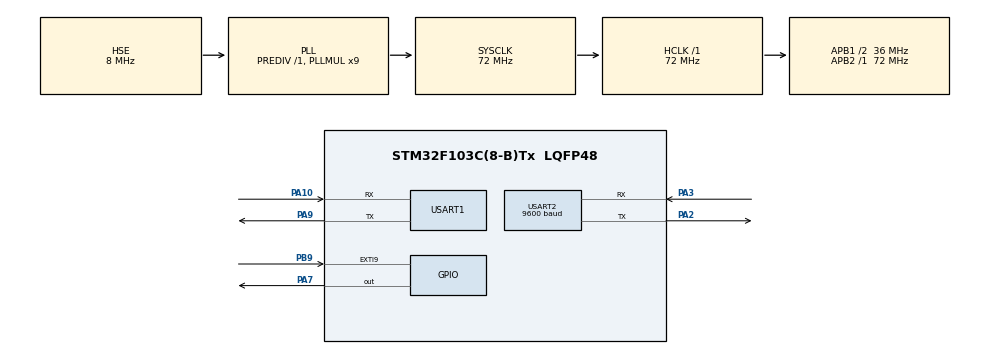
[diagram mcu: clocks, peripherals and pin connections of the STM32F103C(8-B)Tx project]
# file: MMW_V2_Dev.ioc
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Dma.Request0=USART2_RX
Dma.Request1=USART2_TX
Dma.Request2=USART1_RX
Dma.Request3=USART1_TX
Dma.USART1_RX.2.Direction=DMA_PERIPH_TO_MEMORY
Dma.USART1_RX.2.Instance=DMA1_Channel5
Dma.USART1_RX.2.MemDataAlignment=DMA_MDATAALIGN_BYTE
Dma.USART1_RX.2.MemInc=DMA_MINC_ENABLE
Dma.USART1_RX.2.Mode=DMA_CIRCULAR
Dma.USART1_RX.2.PeriphDataAlignment=DMA_PDATAALIGN_BYTE
Dma.USART1_RX.2.PeriphInc=DMA_PINC_DISABLE
Dma.USART1_RX.2.Priority=DMA_PRIORITY_LOW
Dma.USART1_TX.3.Direction=DMA_MEMORY_TO_PERIPH
Dma.USART1_TX.3.Instance=DMA1_Channel4
Dma.USART1_TX.3.MemDataAlignment=DMA_MDATAALIGN_BYTE
Dma.USART1_TX.3.MemInc=DMA_MINC_ENABLE
Dma.USART1_TX.3.Mode=DMA_CIRCULAR
Dma.USART1_TX.3.PeriphDataAlignment=DMA_PDATAALIGN_BYTE
Dma.USART1_TX.3.PeriphInc=DMA_PINC_DISABLE
Dma.USART1_TX.3.Priority=DMA_PRIORITY_LOW
Dma.USART2_RX.0.Direction=DMA_PERIPH_TO_MEMORY
Dma.USART2_RX.0.Instance=DMA1_Channel6
Dma.USART2_RX.0.MemDataAlignment=DMA_MDATAALIGN_BYTE
Dma.USART2_RX.0.MemInc=DMA_MINC_ENABLE
Dma.USART2_RX.0.Mode=DMA_CIRCULAR
Dma.USART2_RX.0.PeriphDataAlignment=DMA_PDATAALIGN_BYTE
Dma.USART2_RX.0.PeriphInc=DMA_PINC_DISABLE
Dma.USART2_RX.0.Priority=DMA_PRIORITY_LOW
Dma.USART2_TX.1.Direction=DMA_MEMORY_TO_PERIPH
Dma.USART2_TX.1.Instance=DMA1_Channel7
Dma.USART2_TX.1.MemDataAlignment=DMA_MDATAALIGN_BYTE
Dma.USART2_TX.1.MemInc=DMA_MINC_ENABLE
Dma.USART2_TX.1.Mode=DMA_CIRCULAR
Dma.USART2_TX.1.PeriphDataAlignment=DMA_PDATAALIGN_BYTE
Dma.USART2_TX.1.PeriphInc=DMA_PINC_DISABLE
Dma.USART2_TX.1.Priority=DMA_PRIORITY_LOW
Mcu.Family=STM32F1
Mcu.Name=STM32F103C(8-B)Tx
Mcu.Package=LQFP48
NVIC.DMA1_Channel4_IRQn=true\:0\:0\:false\:false\:true\:false\:true\:true
NVIC.DMA1_Channel5_IRQn=true\:0\:0\:false\:false\:true\:false\:true\:true
NVIC.DMA1_Channel6_IRQn=true\:0\:0\:false\:false\:true\:false\:true\:true
NVIC.DMA1_Channel7_IRQn=true\:0\:0\:false\:false\:true\:false\:true\:true
NVIC.EXTI9_5_IRQn=true\:0\:0\:false\:false\:true\:true\:true\:true
NVIC.PriorityGroup=NVIC_PRIORITYGROUP_4
NVIC.USART1_IRQn=true\:0\:0\:false\:false\:true\:true\:true\:true
NVIC.USART2_IRQn=true\:0\:0\:false\:false\:true\:true\:true\:true
PA10.Mode=Asynchronous
PA10.Signal=USART1_RX
PA13.Mode=Serial_Wire
PA13.Signal=SYS_JTMS-SWDIO
PA14.Mode=Serial_Wire
PA14.Signal=SYS_JTCK-SWCLK
PA2.Mode=Asynchronous
PA2.Signal=USART2_TX
PA3.Mode=Asynchronous
PA3.Signal=USART2_RX
PA7.Signal=GPIO_Output
PA9.Mode=Asynchronous
PA9.Signal=USART1_TX
PB9.GPIO_ModeDefaultEXTI=GPIO_MODE_IT_RISING_FALLING
PB9.GPIO_PuPd=GPIO_PULLUP
PB9.Signal=GPXTI9
PD0-OSC_IN.Mode=HSE-External-Oscillator
PD0-OSC_IN.Signal=RCC_OSC_IN
PD1-OSC_OUT.Mode=HSE-External-Oscillator
PD1-OSC_OUT.Signal=RCC_OSC_OUT
ProjectManager.HeapSize=0x200
ProjectManager.StackSize=0x400
ProjectManager.TargetToolchain=STM32CubeIDE
RCC.AHBFreq_Value=72000000
RCC.APB1CLKDivider=RCC_HCLK_DIV2
RCC.APB1Freq_Value=36000000
RCC.APB1TimFreq_Value=72000000
RCC.APB2Freq_Value=72000000
RCC.APB2TimFreq_Value=72000000
RCC.HCLKFreq_Value=72000000
RCC.PLLMUL=RCC_PLL_MUL9
RCC.PLLSourceVirtual=RCC_PLLSOURCE_HSE
RCC.SYSCLKFreq_VALUE=72000000
RCC.SYSCLKSource=RCC_SYSCLKSOURCE_PLLCLK
RCC.USBFreq_Value=72000000
TIM1.Period=0xffff-1
TIM1.Prescaler=72-1
USART1.VirtualMode=VM_ASYNC
USART2.BaudRate=9600
USART2.VirtualMode=VM_ASYNC
USART2.WordLength=WORDLENGTH_9B
VP_TIM1_VS_ClockSourceINT.Mode=Internal
board=custom

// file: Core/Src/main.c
/* USER CODE BEGIN Header */
/**
  ******************************************************************************
  * @file           : main.c
  * @brief          : Main program body
  ******************************************************************************
  * @attention
  *
  * Copyright (c) 2022 STMicroelectronics.
  * All rights reserved.
  *
  * This software is licensed under terms that can be found in the LICENSE file
  * in the root directory of this software component.
  * If no LICENSE file comes with this software, it is provided AS-IS.
  *
  ******************************************************************************
  */
/* USER CODE END Header */
#include "main.h"
#include "string.h"
#include "stdio.h"

 TIM_HandleTypeDef htim1;

UART_HandleTypeDef huart1;
UART_HandleTypeDef huart2;
DMA_HandleTypeDef hdma_usart1_rx;
DMA_HandleTypeDef hdma_usart1_tx;
DMA_HandleTypeDef hdma_usart2_rx;
DMA_HandleTypeDef hdma_usart2_tx;

void SystemClock_Config(void);
static void MX_GPIO_Init(void);
static void MX_DMA_Init(void);
static void MX_USART1_UART_Init(void);
static void MX_USART2_UART_Init(void);
static void MX_TIM1_Init(void);

/* USER CODE BEGIN 0 */

/**************************** Uart Buffers ****************************/

uint8_t RX_DATA_FROM_STC[5];
uint8_t RX_BUFF_FROM_DTU[7];

uint8_t *SPLIT_RX_BUFF_FROM_DTU[3];

/**************************** Drop & Door Sensors, Motor Status ****************************/

#define DOOR_SENSOR_PORT GPIOB
#define DOOR_SENSOR_PIN GPIO_PIN_9

int DROP_STATUS = 0; //  0 = Drop Fail, 1 = Drop Success
int DOOR_STATUS;     //  0 = Door Open, 1 = Door Closed
int MOTOR_STATUS = 0;// 0 = Motor Error, 1 = Motor Normal

int toggle_send_once = 0;
int tx_doorOpen_to_DTU_disable = 0;

/**************************** TEMPERATURE Sensor Value ****************************/

uint8_t Temp_byte1;
uint8_t Temp_byte2;
uint16_t TEMP;

float TEMPERATURE = 0; //TEMPERATURE value in Celcius
uint8_t Presence = 0;

/**************************** String and Hex Constant ****************************/

uint8_t SENSOR_REQUEST_STRING[5][7] = {{"tmpchck"}, {"dorchck"}, {"stachck"}, {"adtchck"}, {"mdtchck"}};
uint8_t MOTOR_FIRST_STRING[2][3] = {{"sgl"}, {"tst"}};
uint8_t MOTOR_SECOND_STRING[6][1] = {{"A"}, {"B"}, {"C"}, {"D"}, {"E"}, {"F"}};
uint8_t MOTOR_THIRD_STRING[10][1] = {{"1"}, {"2"}, {"3"}, {"4"}, {"5"}, {"6"}, {"7"}, {"8"}, {"9"},
		{"A"}};

uint16_t STX = 0xFB; //start byte
uint16_t ENX = 0xFB; //end byte

uint16_t SINGLE_MOTOR_DISPENSING = 0x02;
uint16_t SINGLE_MOTOR_DISPENSING_MODE = 0x01;

uint16_t TEST_MOTOR_FUNCTION = 0x03;
uint16_t TEST_MOTOR_FUNCTION_MODE = 0x11;

uint16_t MOTOR_ROW[6] = {0x06, 0x05, 0x04, 0x03, 0x02, 0x01};
uint16_t MOTOR_COLUMN[10] = {0x0A, 0x09, 0x08, 0x07, 0x06, 0x05, 0x04, 0x03, 0x02, 0x01};

uint16_t DROP_TEST_MODE[2] = {0x04,  0x06};

/**************************** Single Motor Hex Return ****************************/

uint8_t DROP_SUCCESS[5] = {0xFB,  0x02,  0x05,  0x00,  0xFB};
uint8_t DROP_NOT_SUCCESS[5] = {0xFB,  0x02,  0x02,  0x00,  0xFB};
uint8_t MOTOR_ERROR[5] = {0xFB,  0x02,  0x00,  0x00,  0xFB};

/**************************** Test Motor Hex Return ****************************/

uint8_t TEST_MOTOR_NORMAL[5] = {0xFB,  0x03,  0x05,  0x00,  0xFB};
uint8_t TEST_MOTOR_ERROR[5] = {0xFB,  0x03,  0x00,  0x00,  0xFB};

/**************************** Automatic Drop Sensor Test (availability) Hex Return ****************************/

uint8_t AUTO_DROP_NORMAL[5] = {0xFB,  0x04,  0x01,  0x00,  0xFB};
uint8_t AUTO_DROP_ERROR[5] = {0xFB,  0x04,  0x00,  0x00,  0xFB};

/**************************** Manual Drop Sensor Test (functionality) Hex Return ****************************/

uint8_t MANUAL_DROP_NORMAL[5] = {0xFB,  0x06,  0x01,  0x00,  0xFB};
uint8_t MANUAL_DROP_ERROR[5] = {0xFB,  0x06,  0x00,  0x00,  0xFB};

/**************************** Milliseconds Delay Function ****************************/

void delay (uint32_t us)
{
    __HAL_TIM_SET_COUNTER(&htim1,0);
    while ((__HAL_TIM_GET_COUNTER(&htim1))<us);
}

/**************************** Set Pin as Input/Output for TEMPERATURE Sensor ****************************/

void Set_Pin_Output (GPIO_TypeDef *GPIOx, uint16_t GPIO_Pin)
{
  GPIO_InitTypeDef GPIO_InitStruct = {0};
  GPIO_InitStruct.Pin = GPIO_Pin;
  GPIO_InitStruct.Mode = GPIO_MODE_OUTPUT_PP;
  GPIO_InitStruct.Speed = GPIO_SPEED_FREQ_LOW;
  HAL_GPIO_Init(GPIOx, &GPIO_InitStruct);
}

void Set_Pin_Input (GPIO_TypeDef *GPIOx, uint16_t GPIO_Pin)
{
  GPIO_InitTypeDef GPIO_InitStruct = {0};
  GPIO_InitStruct.Pin = GPIO_Pin;
  GPIO_InitStruct.Mode = GPIO_MODE_INPUT;
  GPIO_InitStruct.Pull = GPIO_NOPULL;
  HAL_GPIO_Init(GPIOA, &GPIO_InitStruct);
}

/**************************** DS18B20/TEMPERATURE Sensor Functions ****************************/
#define DS18B20_PORT GPIOA
#define DS18B20_PIN GPIO_PIN_7

uint8_t DS18B20_Start (void)
{
	uint8_t Response = 0;
	Set_Pin_Output(DS18B20_PORT, DS18B20_PIN);   // set the pin as output
	HAL_GPIO_WritePin (DS18B20_PORT, DS18B20_PIN, 0);  // pull the pin low
	delay (480);   // delay according to datasheet

	Set_Pin_Input(DS18B20_PORT, DS18B20_PIN);    // set the pin as input
	delay (80);    // delay according to datasheet

	if (!(HAL_GPIO_ReadPin (DS18B20_PORT, DS18B20_PIN))) Response = 1;    // if the pin is low i.e the presence pulse is detected
	else Response = -1;

	delay (400); // 480 us delay totally.

	return Response;
}

void DS18B20_Write (uint8_t data)
{
	Set_Pin_Output(DS18B20_PORT, DS18B20_PIN);  // set as output

	for (int i=0; i<8; i++)
	{

		if ((data & (1<<i))!=0)  // if the bit is high
		{
			// write 1

			Set_Pin_Output(DS18B20_PORT, DS18B20_PIN);  // set as output
			HAL_GPIO_WritePin (DS18B20_PORT, DS18B20_PIN, 0);  // pull the pin LOW
			delay (1);  // wait for 1 us

			Set_Pin_Input(DS18B20_PORT, DS18B20_PIN);  // set as input
			delay (50);  // wait for 60 us
		}

		else  // if the bit is low
		{
			// write 0

			Set_Pin_Output(DS18B20_PORT, DS18B20_PIN);
			HAL_GPIO_WritePin (DS18B20_PORT, DS18B20_PIN, 0);  // pull the pin LOW
			delay (50);  // wait for 60 us

			Set_Pin_Input(DS18B20_PORT, DS18B20_PIN);
		}
	}
}

uint8_t DS18B20_Read (void)
{
	uint8_t value=0;
	Set_Pin_Input(DS18B20_PORT, DS18B20_PIN);

	for (int i=0;i<8;i++)
	{
		Set_Pin_Output(DS18B20_PORT, DS18B20_PIN);   // set as output

		HAL_GPIO_WritePin (DS18B20_PORT, DS18B20_PIN, 0);  // pull the data pin LOW
		delay (2);  // wait for 2 us

		Set_Pin_Input(DS18B20_PORT, DS18B20_PIN);  // set as input
		if (HAL_GPIO_ReadPin (DS18B20_PORT, DS18B20_PIN))  // if the pin is HIGH
		{
			value |= 1<<i;  // read = 1
		}
		delay (60);  // wait for 60 us
	}
	return value;
}

/**************************** UART CALLBACK FUNCTIONS ****************************/

int tx_to_DTU_enable = 0;
char TX_BUFF_TO_DTU[40]; //String from STM32 to DTU is sent using this buffer
uint16_t TX_COMMAND_TO_STC[6]; //Hex Command from STM32 to STC is sent using this buffer

void HAL_UART_TxCpltCallback(UART_HandleTypeDef *huart)
{

}

void HAL_UART_RxCpltCallback(UART_HandleTypeDef *huart){
	if(huart->Instance==USART1)
	 {
  /**************************** UART Split ****************************/
		if(strncmp(RX_BUFF_FROM_DTU, SENSOR_REQUEST_STRING[0], 7) == 0 ||
					strncmp(RX_BUFF_FROM_DTU, SENSOR_REQUEST_STRING[1], 7) == 0 ||
					strncmp(RX_BUFF_FROM_DTU, SENSOR_REQUEST_STRING[2], 7) == 0){

			  tx_to_DTU_enable = 1;
			  tx_doorOpen_to_DTU_disable = 1;
		}
		else{
			  split_Command_from_DTU();
			  concat_Command_for_STC();
			/**************************** UART Transmit & Receive ****************************/
			  send_Command_to_STC();
			  tx_doorOpen_to_DTU_disable = 1;
		}
	 }

	if(huart->Instance==USART2)
	 {
		tx_to_DTU_enable = 1;
	 }

	HAL_UART_Receive_DMA(&huart2, RX_DATA_FROM_STC, 5); //restart the reception mode
	HAL_UART_Receive_IT(&huart1,RX_BUFF_FROM_DTU, 7);
}

/**************************** LOOPING FUNCTIONS ****************************/
/*-------WRITE & READ TEMPERATURE FUNCTION-------*/

void write_read_Temperature(){

	  Presence = DS18B20_Start();
	  HAL_Delay (1);
	  DS18B20_Write (0xCC);  // skip ROM
	  DS18B20_Write (0x44);  // convert t
	  HAL_Delay (800);

	  Presence = DS18B20_Start();
	  HAL_Delay(1);
	  DS18B20_Write (0xCC);  // skip ROM
	  DS18B20_Write (0xBE);  // Read Scratch-pad

	  Temp_byte1 = DS18B20_Read();
	  Temp_byte2 = DS18B20_Read();

	  TEMP = (Temp_byte2<<8)|Temp_byte1;
	  TEMPERATURE = (float)TEMP/16;
}

/*-------TRANSMITTING DATA TO DTU FUNCTION-------*/

void transmit_Data_to_DTU(){

	for(int i = 0; i < sizeof(TX_BUFF_TO_DTU); i++){
		TX_BUFF_TO_DTU[i] = '\0';
	}
	if (strcmp(RX_DATA_FROM_STC, DROP_SUCCESS) == 0){

		sprintf(TX_BUFF_TO_DTU, "sglsuccess_%.2f_%d_1_1_", TEMPERATURE, DOOR_STATUS);
		for(int i = 0; i < sizeof(RX_DATA_FROM_STC); i++){
			RX_DATA_FROM_STC[i] = '\0';
		}
	}
	else if (strcmp(RX_DATA_FROM_STC, DROP_NOT_SUCCESS) == 0){

		sprintf(TX_BUFF_TO_DTU, "sglfail_%.2f_%d_0_1_", TEMPERATURE, DOOR_STATUS);
		for(int i = 0; i < sizeof(RX_DATA_FROM_STC); i++){
			RX_DATA_FROM_STC[i] = '\0';
		}
	}
	else if (strcmp(RX_DATA_FROM_STC, MOTOR_ERROR) == 0){

		sprintf(TX_BUFF_TO_DTU, "sglmotorerror_%.2f_%d_0_0_", TEMPERATURE, DOOR_STATUS);
		for(int i = 0; i < sizeof(RX_DATA_FROM_STC); i++){
			RX_DATA_FROM_STC[i] = '\0';
		}
	}
	else if (strcmp(RX_DATA_FROM_STC, TEST_MOTOR_NORMAL) == 0){

		sprintf(TX_BUFF_TO_DTU, "tstsuccess_%.2f_%d_0_1_", TEMPERATURE, DOOR_STATUS);
		for(int i = 0; i < sizeof(RX_DATA_FROM_STC); i++){
			RX_DATA_FROM_STC[i] = '\0';
		}
	}
	else if (strcmp(RX_DATA_FROM_STC, TEST_MOTOR_ERROR) == 0){

		sprintf(TX_BUFF_TO_DTU, "tstmotorerror_%.2f_%d_0_0_", TEMPERATURE, DOOR_STATUS);
		for(int i = 0; i < sizeof(RX_DATA_FROM_STC); i++){
			RX_DATA_FROM_STC[i] = '\0';
		}
	}
	/*------ONLY FOR TECHNICIAN------*/
	else if (strcmp(RX_DATA_FROM_STC, AUTO_DROP_NORMAL) == 0){

		sprintf(TX_BUFF_TO_DTU, "DROP SENSOR IS AVAILABLE");
		for(int i = 0; i < sizeof(RX_DATA_FROM_STC); i++){
			RX_DATA_FROM_STC[i] = '\0';
		}
	}
	else if (strcmp(RX_DATA_FROM_STC, AUTO_DROP_ERROR) == 0){

		sprintf(TX_BUFF_TO_DTU, "DROP SENSOR ERROR (CHECK CONNECTION)");
		for(int i = 0; i < sizeof(RX_DATA_FROM_STC); i++){
			RX_DATA_FROM_STC[i] = '\0';
		}
	}
	else if (strcmp(RX_DATA_FROM_STC, MANUAL_DROP_NORMAL) == 0){

		sprintf(TX_BUFF_TO_DTU, "MANUAL DROP DETECTION SUCCESSUL");
		for(int i = 0; i < sizeof(RX_DATA_FROM_STC); i++){
			RX_DATA_FROM_STC[i] = '\0';
		}
	}
	else if (strcmp(RX_DATA_FROM_STC, MANUAL_DROP_ERROR) == 0){

		sprintf(TX_BUFF_TO_DTU, "MANUAL DROP DETECTION UNSUCCESSUL");
		for(int i = 0; i < sizeof(RX_DATA_FROM_STC); i++){
			RX_DATA_FROM_STC[i] = '\0';
		}
	}
	else if (strncmp(RX_BUFF_FROM_DTU, SENSOR_REQUEST_STRING[0], 7) == 0){

		sprintf(TX_BUFF_TO_DTU, "tmpchck_%.2f_0_0_0_", TEMPERATURE);
	}
	else if (strncmp(RX_BUFF_FROM_DTU, SENSOR_REQUEST_STRING[1], 7) == 0){

		sprintf(TX_BUFF_TO_DTU, "dorchck_0_%d_0_0_", DOOR_STATUS);
	}
	else if (strncmp(RX_BUFF_FROM_DTU, SENSOR_REQUEST_STRING[2], 7) == 0){

		sprintf(TX_BUFF_TO_DTU, "stachck_%.2f_%d_0_0_", TEMPERATURE, DOOR_STATUS);
	}
	else if(DOOR_STATUS == 0 && tx_doorOpen_to_DTU_disable == 0){

		sprintf(TX_BUFF_TO_DTU, "DOOR OPEN");
	}
	else{

	}

	HAL_UART_Transmit_IT(&huart1, TX_BUFF_TO_DTU, sizeof(TX_BUFF_TO_DTU));
	tx_doorOpen_to_DTU_disable = 0;
}

/**************************** FUNCTIONS THAT RUN IN UART CALLBACK FUNCTIONS ****************************/

void split_Command_from_DTU(){

	char *token;
	int j = 0;
	token = strtok(RX_BUFF_FROM_DTU, "_");

	while( token != NULL ) {
		printf( " %s\n", token );
		SPLIT_RX_BUFF_FROM_DTU[j++] = token;
		token = strtok(NULL, "_");
	}

}

void concat_Command_for_STC(){

	/************* Set First & End Hex Byte *************/
	TX_COMMAND_TO_STC[0] = STX;
	TX_COMMAND_TO_STC[5] = ENX;

	/************* Set Second & Fifth Hex Byte *************/

	if(strncmp(SPLIT_RX_BUFF_FROM_DTU[0], MOTOR_FIRST_STRING[0], 3) == 0){
		TX_COMMAND_TO_STC[1] = SINGLE_MOTOR_DISPENSING;// ------------------------>single motor dispensing = 0x02
		TX_COMMAND_TO_STC[4] = SINGLE_MOTOR_DISPENSING_MODE;// ------------------->spiral cargo mode with drop sensor = 0x01
	}
	else if (strncmp(SPLIT_RX_BUFF_FROM_DTU[0], MOTOR_FIRST_STRING[1], 3) == 0){
	    TX_COMMAND_TO_STC[1] = TEST_MOTOR_FUNCTION;// ---------------------------->test motor function = 0x03
	    TX_COMMAND_TO_STC[4] = TEST_MOTOR_FUNCTION_MODE;// ----------------------->test if spiral cargo motor not connected = 0x11
	}
	else{

	}

	/************* Set Third Hex Byte (Motor MOTOR_ROW)*************/
	if(strncmp(SPLIT_RX_BUFF_FROM_DTU[1], MOTOR_SECOND_STRING[0], 1) == 0){
		TX_COMMAND_TO_STC[2] = MOTOR_ROW[0];// ------------------------------------------>A = 0x06
	}
	else if (strncmp(SPLIT_RX_BUFF_FROM_DTU[1], MOTOR_SECOND_STRING[1], 1) == 0){
		TX_COMMAND_TO_STC[2] = MOTOR_ROW[1];// ------------------------------------------>B = 0x05
	}
	else if (strncmp(SPLIT_RX_BUFF_FROM_DTU[1], MOTOR_SECOND_STRING[2], 1) == 0){
		TX_COMMAND_TO_STC[2] = MOTOR_ROW[2];// ------------------------------------------>C = 0x04
	}
	else if (strncmp(SPLIT_RX_BUFF_FROM_DTU[1], MOTOR_SECOND_STRING[3], 1) == 0){
		TX_COMMAND_TO_STC[2] = MOTOR_ROW[3];// ------------------------------------------>D = 0x03
	}
	else if (strncmp(SPLIT_RX_BUFF_FROM_DTU[1], MOTOR_SECOND_STRING[4], 1) == 0){
		TX_COMMAND_TO_STC[2] = MOTOR_ROW[4];// ------------------------------------------>E = 0x02
	}
	else if (strncmp(SPLIT_RX_BUFF_FROM_DTU[1], MOTOR_SECOND_STRING[5], 1) == 0){
		TX_COMMAND_TO_STC[2] = MOTOR_ROW[5];// ------------------------------------------>F = 0x01
	}
	else{

	}

	/************* Set Fourth Hex Byte (Motor MOTOR_COLUMN)*************/

	if(strncmp(SPLIT_RX_BUFF_FROM_DTU[2], MOTOR_THIRD_STRING[0], 1) == 0){
		TX_COMMAND_TO_STC[3] = MOTOR_COLUMN[0];// ------------------------------------------>1 = 0x0A
	}
	else if (strncmp(SPLIT_RX_BUFF_FROM_DTU[2], MOTOR_THIRD_STRING[1], 1) == 0){
		TX_COMMAND_TO_STC[3] = MOTOR_COLUMN[1];// ------------------------------------------>2 = 0x09
	}
	else if (strncmp(SPLIT_RX_BUFF_FROM_DTU[2], MOTOR_THIRD_STRING[2], 1) == 0){
		TX_COMMAND_TO_STC[3] = MOTOR_COLUMN[2];// ------------------------------------------>3 = 0x08
	}
	else if (strncmp(SPLIT_RX_BUFF_FROM_DTU[2], MOTOR_THIRD_STRING[3], 1) == 0){
		TX_COMMAND_TO_STC[3] = MOTOR_COLUMN[3];// ------------------------------------------>4 = 0x07
	}
	else if (strncmp(SPLIT_RX_BUFF_FROM_DTU[2], MOTOR_THIRD_STRING[4], 1) == 0){
		TX_COMMAND_TO_STC[3] = MOTOR_COLUMN[4];// ------------------------------------------>5 = 0x06
	}
	else if (strncmp(SPLIT_RX_BUFF_FROM_DTU[2], MOTOR_THIRD_STRING[5], 1) == 0){
		TX_COMMAND_TO_STC[3] = MOTOR_COLUMN[5];// ------------------------------------------>6 = 0x05
	}
	else if (strncmp(SPLIT_RX_BUFF_FROM_DTU[2], MOTOR_THIRD_STRING[6], 1) == 0){
		TX_COMMAND_TO_STC[3] = MOTOR_COLUMN[6];// ------------------------------------------>7 = 0x04
	}
	else if (strncmp(SPLIT_RX_BUFF_FROM_DTU[2], MOTOR_THIRD_STRING[7], 1) == 0){
		TX_COMMAND_TO_STC[3] = MOTOR_COLUMN[7];// ------------------------------------------>8 = 0x03
	}
	else if (strncmp(SPLIT_RX_BUFF_FROM_DTU[2], MOTOR_THIRD_STRING[8], 1) == 0){
		TX_COMMAND_TO_STC[3] = MOTOR_COLUMN[8];// ------------------------------------------>9 = 0x02
	}
	else if (strncmp(SPLIT_RX_BUFF_FROM_DTU[2], MOTOR_THIRD_STRING[9], 1) == 0){
		TX_COMMAND_TO_STC[3] = MOTOR_COLUMN[9];// ------------------------------------------>A = 0x01
	}
	else{

	}

	/************* Set Second, Third, Fourth & Fifth Hex Byte *************/

	if(strncmp(RX_BUFF_FROM_DTU, SENSOR_REQUEST_STRING[3], 7) == 0){
		TX_COMMAND_TO_STC[1] = DROP_TEST_MODE[0];// ------------------------>Automatic Drop Sensor Test Mode = 0x04
		TX_COMMAND_TO_STC[2] = 0x00;
		TX_COMMAND_TO_STC[3] = 0x00;
		TX_COMMAND_TO_STC[4] = 0x00;
	}
	else if (strncmp(RX_BUFF_FROM_DTU, SENSOR_REQUEST_STRING[4], 7) == 0){
		TX_COMMAND_TO_STC[1] = DROP_TEST_MODE[1];// ------------------------>Manual Drop Sensor Test Mode = 0x06
		TX_COMMAND_TO_STC[2] = 0x00;
		TX_COMMAND_TO_STC[3] = 0x00;
		TX_COMMAND_TO_STC[4] = 0x00;
	}
	else{

	}

}

void send_Command_to_STC(void){

	HAL_UART_Transmit_IT(&huart2, TX_COMMAND_TO_STC, 6);
}

/* USER CODE END 0 */

int main(void)
{

  /* MCU Configuration--------------------------------------------------------*/

  /* Reset of all peripherals, Initializes the Flash interface and the Systick. */
  HAL_Init();

  /* Configure the system clock */
  SystemClock_Config();

  /* Initialize all configured peripherals */
  MX_GPIO_Init();
  MX_DMA_Init();
  MX_USART1_UART_Init();
  MX_USART2_UART_Init();
  MX_TIM1_Init();
  /* USER CODE BEGIN 2 */
  HAL_TIM_Base_Start(&htim1);
  HAL_UART_Receive_DMA(&huart2, RX_DATA_FROM_STC, 5);
  HAL_UART_Receive_IT(&huart1,RX_BUFF_FROM_DTU, 7);
  /* USER CODE END 2 */

  /* Infinite loop */
  while (1)
  {
	  if(tx_to_DTU_enable == 1){
		  transmit_Data_to_DTU();
		  tx_to_DTU_enable = 0;
	  }
	  if(DOOR_STATUS == 0 && toggle_send_once == 1){
		  transmit_Data_to_DTU();
		  toggle_send_once = 0;
	  }
	  write_read_Temperature();
  }
}

// External Interrupt ISR Handler CallBackFun
void HAL_GPIO_EXTI_Callback(uint16_t GPIO_Pin)
{
    if(GPIO_Pin == DOOR_SENSOR_PIN) // INT Source is pin A9
    {
    	if(HAL_GPIO_ReadPin(DOOR_SENSOR_PORT, DOOR_SENSOR_PIN) != GPIO_PIN_RESET){
    		DOOR_STATUS = 0;
    		toggle_send_once = 1;
		}
		else{
			DOOR_STATUS = 1;
		}
    }
}

void SystemClock_Config(void)
{
  RCC_OscInitTypeDef RCC_OscInitStruct = {0};
  RCC_ClkInitTypeDef RCC_ClkInitStruct = {0};

  /** Initializes the RCC Oscillators according to the specified parameters
  * in the RCC_OscInitTypeDef structure.
  */
  RCC_OscInitStruct.OscillatorType = RCC_OSCILLATORTYPE_HSE;
  RCC_OscInitStruct.HSEState = RCC_HSE_ON;
  RCC_OscInitStruct.HSEPredivValue = RCC_HSE_PREDIV_DIV1;
  RCC_OscInitStruct.HSIState = RCC_HSI_ON;
  RCC_OscInitStruct.PLL.PLLState = RCC_PLL_ON;
  RCC_OscInitStruct.PLL.PLLSource = RCC_PLLSOURCE_HSE;
  RCC_OscInitStruct.PLL.PLLMUL = RCC_PLL_MUL9;
  if (HAL_RCC_OscConfig(&RCC_OscInitStruct) != HAL_OK)
  {
    Error_Handler();
  }

  /** Initializes the CPU, AHB and APB buses clocks
  */
  RCC_ClkInitStruct.ClockType = RCC_CLOCKTYPE_HCLK|RCC_CLOCKTYPE_SYSCLK
                              |RCC_CLOCKTYPE_PCLK1|RCC_CLOCKTYPE_PCLK2;
  RCC_ClkInitStruct.SYSCLKSource = RCC_SYSCLKSOURCE_PLLCLK;
  RCC_ClkInitStruct.AHBCLKDivider = RCC_SYSCLK_DIV1;
  RCC_ClkInitStruct.APB1CLKDivider = RCC_HCLK_DIV2;
  RCC_ClkInitStruct.APB2CLKDivider = RCC_HCLK_DIV1;

  if (HAL_RCC_ClockConfig(&RCC_ClkInitStruct, FLASH_LATENCY_2) != HAL_OK)
  {
    Error_Handler();
  }
}

static void MX_TIM1_Init(void)
{

  TIM_ClockConfigTypeDef sClockSourceConfig = {0};
  TIM_MasterConfigTypeDef sMasterConfig = {0};

  htim1.Instance = TIM1;
  htim1.Init.Prescaler = 72-1;
  htim1.Init.CounterMode = TIM_COUNTERMODE_UP;
  htim1.Init.Period = 0xffff-1;
  htim1.Init.ClockDivision = TIM_CLOCKDIVISION_DIV1;
  htim1.Init.RepetitionCounter = 0;
  htim1.Init.AutoReloadPreload = TIM_AUTORELOAD_PRELOAD_DISABLE;
  if (HAL_TIM_Base_Init(&htim1) != HAL_OK)
  {
    Error_Handler();
  }
  sClockSourceConfig.ClockSource = TIM_CLOCKSOURCE_INTERNAL;
  if (HAL_TIM_ConfigClockSource(&htim1, &sClockSourceConfig) != HAL_OK)
  {
    Error_Handler();
  }
  sMasterConfig.MasterOutputTrigger = TIM_TRGO_RESET;
  sMasterConfig.MasterSlaveMode = TIM_MASTERSLAVEMODE_DISABLE;
  if (HAL_TIMEx_MasterConfigSynchronization(&htim1, &sMasterConfig) != HAL_OK)
  {
    Error_Handler();
  }

}

static void MX_USART1_UART_Init(void)
{

  huart1.Instance = USART1;
  huart1.Init.BaudRate = 115200;
  huart1.Init.WordLength = UART_WORDLENGTH_8B;
  huart1.Init.StopBits = UART_STOPBITS_1;
  huart1.Init.Parity = UART_PARITY_NONE;
  huart1.Init.Mode = UART_MODE_TX_RX;
  huart1.Init.HwFlowCtl = UART_HWCONTROL_NONE;
  huart1.Init.OverSampling = UART_OVERSAMPLING_16;
  if (HAL_UART_Init(&huart1) != HAL_OK)
  {
    Error_Handler();
  }

}

static void MX_USART2_UART_Init(void)
{

  huart2.Instance = USART2;
  huart2.Init.BaudRate = 9600;
  huart2.Init.WordLength = UART_WORDLENGTH_9B;
  huart2.Init.StopBits = UART_STOPBITS_1;
  huart2.Init.Parity = UART_PARITY_NONE;
  huart2.Init.Mode = UART_MODE_TX_RX;
  huart2.Init.HwFlowCtl = UART_HWCONTROL_NONE;
  huart2.Init.OverSampling = UART_OVERSAMPLING_16;
  if (HAL_UART_Init(&huart2) != HAL_OK)
  {
    Error_Handler();
  }

}

static void MX_DMA_Init(void)
{

  /* DMA controller clock enable */
  __HAL_RCC_DMA1_CLK_ENABLE();

  /* DMA interrupt init */
  /* DMA1_Channel4_IRQn interrupt configuration */
  HAL_NVIC_SetPriority(DMA1_Channel4_IRQn, 0, 0);
  HAL_NVIC_EnableIRQ(DMA1_Channel4_IRQn);
  /* DMA1_Channel5_IRQn interrupt configuration */
  HAL_NVIC_SetPriority(DMA1_Channel5_IRQn, 0, 0);
  HAL_NVIC_EnableIRQ(DMA1_Channel5_IRQn);
  /* DMA1_Channel6_IRQn interrupt configuration */
  HAL_NVIC_SetPriority(DMA1_Channel6_IRQn, 0, 0);
  HAL_NVIC_EnableIRQ(DMA1_Channel6_IRQn);
  /* DMA1_Channel7_IRQn interrupt configuration */
  HAL_NVIC_SetPriority(DMA1_Channel7_IRQn, 0, 0);
  HAL_NVIC_EnableIRQ(DMA1_Channel7_IRQn);

}

static void MX_GPIO_Init(void)
{
  GPIO_InitTypeDef GPIO_InitStruct = {0};

  /* GPIO Ports Clock Enable */
  __HAL_RCC_GPIOD_CLK_ENABLE();
  __HAL_RCC_GPIOA_CLK_ENABLE();
  __HAL_RCC_GPIOB_CLK_ENABLE();

  /*Configure GPIO pin Output Level */
  HAL_GPIO_WritePin(GPIOA, GPIO_PIN_7, GPIO_PIN_RESET);

  /*Configure GPIO pin : PA7 */
  GPIO_InitStruct.Pin = GPIO_PIN_7;
  GPIO_InitStruct.Mode = GPIO_MODE_OUTPUT_PP;
  GPIO_InitStruct.Pull = GPIO_NOPULL;
  GPIO_InitStruct.Speed = GPIO_SPEED_FREQ_LOW;
  HAL_GPIO_Init(GPIOA, &GPIO_InitStruct);

  /*Configure GPIO pin : PB9 */
  GPIO_InitStruct.Pin = GPIO_PIN_9;
  GPIO_InitStruct.Mode = GPIO_MODE_IT_RISING_FALLING;
  GPIO_InitStruct.Pull = GPIO_PULLUP;
  HAL_GPIO_Init(GPIOB, &GPIO_InitStruct);

  /* EXTI interrupt init*/
  HAL_NVIC_SetPriority(EXTI9_5_IRQn, 0, 0);
  HAL_NVIC_EnableIRQ(EXTI9_5_IRQn);

}

void Error_Handler(void)
{
  __disable_irq();
  while (1)
  {
  }
}
